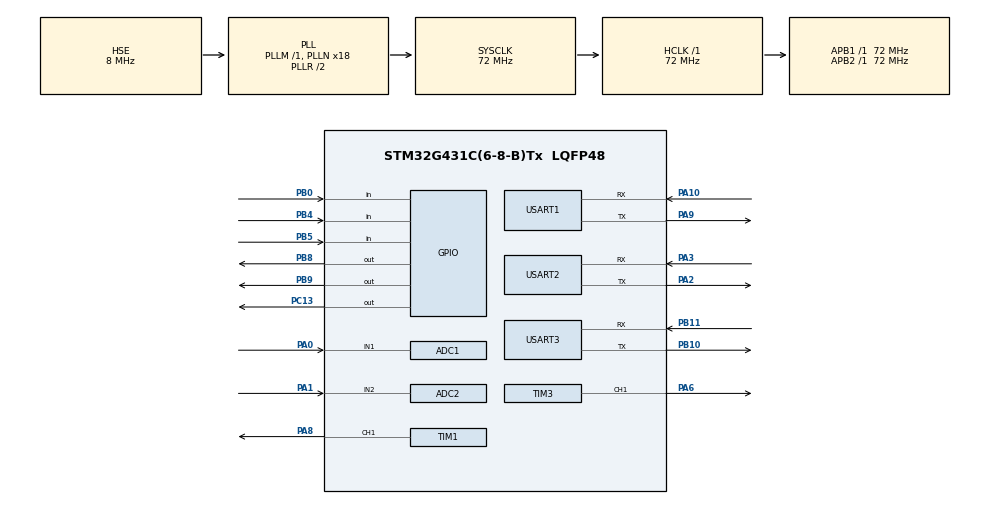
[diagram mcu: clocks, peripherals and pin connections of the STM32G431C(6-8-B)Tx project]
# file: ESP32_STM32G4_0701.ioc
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ADC1.Channel-0\#ChannelRegularConversion=ADC_CHANNEL_1
ADC1.NbrOfConversionFlag=1
ADC1.OffsetNumber-0\#ChannelRegularConversion=ADC_OFFSET_NONE
ADC1.Rank-0\#ChannelRegularConversion=1
ADC1.SamplingTime-0\#ChannelRegularConversion=ADC_SAMPLETIME_2CYCLES_5
ADC1.master=1
ADC2.Channel-0\#ChannelRegularConversion=ADC_CHANNEL_2
ADC2.NbrOfConversionFlag=1
ADC2.OffsetNumber-0\#ChannelRegularConversion=ADC_OFFSET_NONE
ADC2.Rank-0\#ChannelRegularConversion=1
ADC2.SamplingTime-0\#ChannelRegularConversion=ADC_SAMPLETIME_2CYCLES_5
FREERTOS.Queues01=myQueue01,16,uint16_t,0,Dynamic,NULL,NULL
FREERTOS.Tasks01=defaultTask,24,128,StartDefaultTask,Default,NULL,Dynamic,NULL,NULL;myTask02,8,128,StartTask02,Default,NULL,Dynamic,NULL,NULL;myTask03,8,128,StartTask03,Default,NULL,Dynamic,NULL,NULL;myTask04,8,128,StartTask04,Default,NULL,Dynamic,NULL,NULL;myTask05,8,128,StartTask05,Default,NULL,Dynamic,NULL,NULL;myTask06,8,128,StartTask06,Default,NULL,Dynamic,NULL,NULL;myTask07,8,128,StartTask07,Default,NULL,Dynamic,NULL,NULL
FREERTOS.configTOTAL_HEAP_SIZE=10000
Mcu.Family=STM32G4
Mcu.Name=STM32G431C(6-8-B)Tx
Mcu.Package=LQFP48
NVIC.PriorityGroup=NVIC_PRIORITYGROUP_4
NVIC.TIM2_IRQn=true\:15\:0\:false\:false\:true\:false\:false\:true\:true
NVIC.TimeBase=TIM2_IRQn
NVIC.TimeBaseIP=TIM2
NVIC.USART2_IRQn=true\:5\:0\:false\:false\:true\:true\:true\:true\:true
NVIC.USART3_IRQn=true\:5\:0\:false\:false\:true\:true\:true\:true\:true
PA0.Mode=IN1-Single-Ended
PA0.Signal=ADC1_IN1
PA1.Mode=IN2-Single-Ended
PA1.Signal=ADC2_IN2
PA10.Mode=Asynchronous
PA10.Signal=USART1_RX
PA13.Mode=Serial_Wire
PA13.Signal=SYS_JTMS-SWDIO
PA14.Mode=Serial_Wire
PA14.Signal=SYS_JTCK-SWCLK
PA2.Mode=Asynchronous
PA2.Signal=USART2_TX
PA3.Mode=Asynchronous
PA3.Signal=USART2_RX
PA6.Signal=S_TIM3_CH1
PA8.Signal=S_TIM1_CH1
PA9.Mode=Asynchronous
PA9.Signal=USART1_TX
PB0.GPIO_PuPd=GPIO_PULLUP
PB0.Signal=GPIO_Input
PB10.Mode=Asynchronous
PB10.Signal=USART3_TX
PB11.Mode=Asynchronous
PB11.Signal=USART3_RX
PB4.GPIO_PuPd=GPIO_PULLUP
PB4.Signal=GPIO_Input
PB5.GPIO_PuPd=GPIO_PULLUP
PB5.Signal=GPIO_Input
PB8-BOOT0.GPIO_ModeDefaultOutputPP=GPIO_MODE_OUTPUT_OD
PB8-BOOT0.GPIO_PuPd=GPIO_NOPULL
PB8-BOOT0.Signal=GPIO_Output
PB9.GPIO_ModeDefaultOutputPP=GPIO_MODE_OUTPUT_OD
PB9.GPIO_PuPd=GPIO_NOPULL
PB9.Signal=GPIO_Output
PC13.Signal=GPIO_Output
PF0-OSC_IN.Mode=HSE-External-Oscillator
PF0-OSC_IN.Signal=RCC_OSC_IN
PF1-OSC_OUT.Mode=HSE-External-Oscillator
PF1-OSC_OUT.Signal=RCC_OSC_OUT
ProjectManager.HeapSize=0x200
ProjectManager.StackSize=0x400
ProjectManager.TargetToolchain=MDK-ARM V5.32
RCC.ADC12Freq_Value=72000000
RCC.AHBFreq_Value=72000000
RCC.APB1Freq_Value=72000000
RCC.APB1TimFreq_Value=72000000
RCC.APB2Freq_Value=72000000
RCC.APB2TimFreq_Value=72000000
RCC.CortexFreq_Value=72000000
RCC.EXTERNAL_CLOCK_VALUE=12288000
RCC.HCLKFreq_Value=72000000
RCC.HSE_VALUE=8000000
RCC.HSI48_VALUE=48000000
RCC.HSI_VALUE=16000000
RCC.LSE_VALUE=32768
RCC.PLLN=18
RCC.PLLSourceVirtual=RCC_PLLSOURCE_HSE
RCC.SYSCLKFreq_VALUE=72000000
RCC.SYSCLKSource=RCC_SYSCLKSOURCE_PLLCLK
RCC.USBFreq_Value=72000000
RCC.VCOOutputFreq_Value=144000000
SH.S_TIM1_CH1.0=TIM1_CH1,PWM Generation1 CH1
SH.S_TIM3_CH1.0=TIM3_CH1,PWM Generation1 CH1
TIM1.Channel-PWM\ Generation1\ CH1=TIM_CHANNEL_1
TIM1.PeriodNoDither=10000-1
TIM1.Prescaler=72-1
TIM3.Channel-PWM\ Generation1\ CH1=TIM_CHANNEL_1
TIM3.Prescaler=72-1
USART1.VirtualMode-Asynchronous=VM_ASYNC
USART2.VirtualMode-Asynchronous=VM_ASYNC
USART3.VirtualMode-Asynchronous=VM_ASYNC
VP_FREERTOS_VS_CMSIS_V2.Mode=CMSIS_V2
VP_SYS_VS_DBSignals.Mode=DisableDeadBatterySignals
VP_SYS_VS_tim2.Mode=TIM2
VP_TIM1_VS_ClockSourceINT.Mode=Internal
VP_TIM3_VS_ClockSourceINT.Mode=Internal
board=custom

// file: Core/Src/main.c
/* USER CODE BEGIN Header */
/**
  ******************************************************************************
  * @file           : main.c
  * @brief          : Main program body
  ******************************************************************************
  * @attention
  *
  * Copyright (c) 2024 STMicroelectronics.
  * All rights reserved.
  *
  * This software is licensed under terms that can be found in the LICENSE file
  * in the root directory of this software component.
  * If no LICENSE file comes with this software, it is provided AS-IS.
  *
  ******************************************************************************
  */
/* USER CODE END Header */
#include "main.h"
#include "cmsis_os.h"
#include "adc.h"
#include "tim.h"
#include "usart.h"
#include "gpio.h"

void SystemClock_Config(void);
void MX_FREERTOS_Init(void);

int main(void)
{

  /* MCU Configuration--------------------------------------------------------*/

  /* Reset of all peripherals, Initializes the Flash interface and the Systick. */
  HAL_Init();

  /* Configure the system clock */
  SystemClock_Config();

  /* Initialize all configured peripherals */
  MX_GPIO_Init();
  MX_ADC1_Init();
  MX_TIM1_Init();
  MX_TIM3_Init();
  MX_USART1_UART_Init();
  MX_USART2_UART_Init();
  MX_USART3_UART_Init();
  MX_ADC2_Init();

  /* Init scheduler */
  osKernelInitialize();

  /* Call init function for freertos objects (in freertos.c) */
  MX_FREERTOS_Init();

  /* Start scheduler */
  osKernelStart();

  /* We should never get here as control is now taken by the scheduler */
  /* Infinite loop */
  while (1)
  {

  }
}

void SystemClock_Config(void)
{
  RCC_OscInitTypeDef RCC_OscInitStruct = {0};
  RCC_ClkInitTypeDef RCC_ClkInitStruct = {0};

  /** Configure the main internal regulator output voltage
  */
  HAL_PWREx_ControlVoltageScaling(PWR_REGULATOR_VOLTAGE_SCALE1);

  /** Initializes the RCC Oscillators according to the specified parameters
  * in the RCC_OscInitTypeDef structure.
  */
  RCC_OscInitStruct.OscillatorType = RCC_OSCILLATORTYPE_HSE;
  RCC_OscInitStruct.HSEState = RCC_HSE_ON;
  RCC_OscInitStruct.PLL.PLLState = RCC_PLL_ON;
  RCC_OscInitStruct.PLL.PLLSource = RCC_PLLSOURCE_HSE;
  RCC_OscInitStruct.PLL.PLLM = RCC_PLLM_DIV1;
  RCC_OscInitStruct.PLL.PLLN = 18;
  RCC_OscInitStruct.PLL.PLLP = RCC_PLLP_DIV2;
  RCC_OscInitStruct.PLL.PLLQ = RCC_PLLQ_DIV2;
  RCC_OscInitStruct.PLL.PLLR = RCC_PLLR_DIV2;
  if (HAL_RCC_OscConfig(&RCC_OscInitStruct) != HAL_OK)
  {
    Error_Handler();
  }

  /** Initializes the CPU, AHB and APB buses clocks
  */
  RCC_ClkInitStruct.ClockType = RCC_CLOCKTYPE_HCLK|RCC_CLOCKTYPE_SYSCLK
                              |RCC_CLOCKTYPE_PCLK1|RCC_CLOCKTYPE_PCLK2;
  RCC_ClkInitStruct.SYSCLKSource = RCC_SYSCLKSOURCE_PLLCLK;
  RCC_ClkInitStruct.AHBCLKDivider = RCC_SYSCLK_DIV1;
  RCC_ClkInitStruct.APB1CLKDivider = RCC_HCLK_DIV1;
  RCC_ClkInitStruct.APB2CLKDivider = RCC_HCLK_DIV1;

  if (HAL_RCC_ClockConfig(&RCC_ClkInitStruct, FLASH_LATENCY_2) != HAL_OK)
  {
    Error_Handler();
  }
}

void HAL_TIM_PeriodElapsedCallback(TIM_HandleTypeDef *htim)
{
  if (htim->Instance == TIM2) {
    HAL_IncTick();
  }
}

void Error_Handler(void)
{
  __disable_irq();
  while (1)
  {
  }
}

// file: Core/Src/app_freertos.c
/* USER CODE BEGIN Header */
/**
  ******************************************************************************
  * File Name          : app_freertos.c
  * Description        : Code for freertos applications
  ******************************************************************************
  * @attention
  *
  * Copyright (c) 2024 STMicroelectronics.
  * All rights reserved.
  *
  * This software is licensed under terms that can be found in the LICENSE file
  * in the root directory of this software component.
  * If no LICENSE file comes with this software, it is provided AS-IS.
  *
  ******************************************************************************
  */
/* USER CODE END Header */

#include "FreeRTOS.h"
#include "task.h"
#include "main.h"
#include "cmsis_os.h"

/* USER CODE BEGIN Includes */
#include "string.h"
#include "stdio.h"
#include "adc.h"
#include "usart.h"
#include "tim.h"
#include "oled.h"
uint16_t duty = 0;
uint8_t x=0;
uint8_t  data_rx[20]={0};
uint32_t leftLight = 0;  // 左光传感器数值
uint32_t rightLight = 0; // 右光传感器数值
char leftLightStr[20];   // 用于存储左光传感器数值的字符串
char rightLightStr[20];  // 用于存储右光传感器数值的字符串
int fputc(int ch, FILE *f)
{
// 等待发送完成
while((USART1->ISR & USART_ISR_TXE) == 0);

// 发送字符
USART1->TDR = (char) ch;
return ch;
}
/* USER CODE END Includes */

/* USER CODE BEGIN PM */
#define ARR 20000
/* USER CODE END PM */

/* Definitions for defaultTask */
osThreadId_t defaultTaskHandle;
const osThreadAttr_t defaultTask_attributes = {
  .name = "defaultTask",
  .priority = (osPriority_t) osPriorityNormal,
  .stack_size = 128 * 4
};
/* Definitions for myTask02 */
osThreadId_t myTask02Handle;
const osThreadAttr_t myTask02_attributes = {
  .name = "myTask02",
  .priority = (osPriority_t) osPriorityLow,
  .stack_size = 128 * 4
};
/* Definitions for myTask03 */
osThreadId_t myTask03Handle;
const osThreadAttr_t myTask03_attributes = {
  .name = "myTask03",
  .priority = (osPriority_t) osPriorityLow,
  .stack_size = 128 * 4
};
/* Definitions for myTask04 */
osThreadId_t myTask04Handle;
const osThreadAttr_t myTask04_attributes = {
  .name = "myTask04",
  .priority = (osPriority_t) osPriorityLow,
  .stack_size = 128 * 4
};
/* Definitions for myTask05 */
osThreadId_t myTask05Handle;
const osThreadAttr_t myTask05_attributes = {
  .name = "myTask05",
  .priority = (osPriority_t) osPriorityLow,
  .stack_size = 128 * 4
};
/* Definitions for myTask06 */
osThreadId_t myTask06Handle;
const osThreadAttr_t myTask06_attributes = {
  .name = "myTask06",
  .priority = (osPriority_t) osPriorityLow,
  .stack_size = 128 * 4
};
/* Definitions for myTask07 */
osThreadId_t myTask07Handle;
const osThreadAttr_t myTask07_attributes = {
  .name = "myTask07",
  .priority = (osPriority_t) osPriorityLow,
  .stack_size = 128 * 4
};
/* Definitions for myQueue01 */
osMessageQueueId_t myQueue01Handle;
const osMessageQueueAttr_t myQueue01_attributes = {
  .name = "myQueue01"
};

/* USER CODE BEGIN FunctionPrototypes */
void HAL_UART_RxCpltCallback(UART_HandleTypeDef *huart)
{
	 vTaskNotifyGiveFromISR(myTask03Handle ,0);
	HAL_UART_Receive_IT(&huart2, data_rx, 4);
}
/* USER CODE END FunctionPrototypes */

void StartDefaultTask(void *argument);
void StartTask02(void *argument);
void StartTask03(void *argument);
void StartTask04(void *argument);
void StartTask05(void *argument);
void StartTask06(void *argument);
void StartTask07(void *argument);

void MX_FREERTOS_Init(void); /* (MISRA C 2004 rule 8.1) */

void MX_FREERTOS_Init(void) {

  /* Create the queue(s) */
  /* creation of myQueue01 */
  myQueue01Handle = osMessageQueueNew (16, sizeof(uint16_t), &myQueue01_attributes);

  /* Create the thread(s) */
  /* creation of defaultTask */
  defaultTaskHandle = osThreadNew(StartDefaultTask, NULL, &defaultTask_attributes);

  /* creation of myTask02 */
  myTask02Handle = osThreadNew(StartTask02, NULL, &myTask02_attributes);

  /* creation of myTask03 */
  myTask03Handle = osThreadNew(StartTask03, NULL, &myTask03_attributes);

  /* creation of myTask04 */
  myTask04Handle = osThreadNew(StartTask04, NULL, &myTask04_attributes);

  /* creation of myTask05 */
  myTask05Handle = osThreadNew(StartTask05, NULL, &myTask05_attributes);

  /* creation of myTask06 */
  myTask06Handle = osThreadNew(StartTask06, NULL, &myTask06_attributes);

  /* creation of myTask07 */
  myTask07Handle = osThreadNew(StartTask07, NULL, &myTask07_attributes);

}

void StartDefaultTask(void *argument)
{
  /* USER CODE BEGIN StartDefaultTask */
  /* Infinite loop */
	printf("start\r\n");// 打印任务开始信息到串口
	memset(data_rx,0,20);// 初始化接收数据缓冲区为0
	HAL_UART_Receive_IT(&huart2, data_rx, 4);// 启动UART接收中断，接收4个字节的数据到data_rx缓冲区
  for(;;)
  {
    osDelay(1000);
  }
  /* USER CODE END StartDefaultTask */
}

void StartTask02(void *argument)
{
  /* USER CODE BEGIN StartTask02 */
  /* Infinite loop */
uint16_t r_queue = 0; // 定义一个用于接收消息队列数据的变量，初始值为0
uint16_t len = 0; // 定义长度变量，用于记录待发送数据的长度，初始值为0
char data_send[20] = {0}; // 定义一个长度为20的待发送数据缓冲区，初始所有元素为0
for (;;)
{
    osMessageQueueGet(myQueue01Handle, &r_queue, 0, osWaitForever);
    // 从消息队列（myQueue01Handle）中获取消息，等待时间设为永久(osWaitForever)，获取的消息存储在r_queue变量中
    HAL_UART_Transmit(&huart2, data_send, len, 1000);
    // 通过UART2发送数据，发送data_send缓冲区中的数据，发送长度为len个字节，超时时间为1000毫秒
    osDelay(1); // 延时1毫秒，控制任务执行频率
}

  /* USER CODE END StartTask02 */
}

void StartTask03(void *argument)
{
  /* USER CODE BEGIN StartTask03 */
  /* Infinite loop */
    for(;;)
    {
        ulTaskNotifyTake(1, osWaitForever); // 等待接收任务通知
        printf("datarx=%s\r\n", data_rx); // 打印接收到的数据
		    // 比较接收到的数据并执行相应操作
        if(strcmp(data_rx, "OPEN") == 0)
        {
            x = 1;
            HAL_TIM_PWM_Start(&htim1, TIM_CHANNEL_1); // 启动PWM输出
            duty = 255;
            printf("当前档位为：%d档\r\n", x); // 打印当前档位
        }
        else if(strcmp(data_rx, "CLOS") == 0)
        {
            HAL_TIM_PWM_Stop(&htim1, TIM_CHANNEL_1); // 停止PWM输出
            duty = 0;
            x = 0;
            printf("当前档位为：%d档\r\n", x); // 打印当前档位
        }
        else if(strcmp(data_rx, "high") == 0)
        {
            if(x < 5)
            {
                x++;
                printf("当前档位为：%d档\r\n", x); // 打印当前档位
            }
        }
        else if(strcmp(data_rx, "down") == 0)
        {
            if(x > 0)
            {
                x--;
                printf("当前档位为：%d档\r\n", x); // 打印当前档位
            }
        }

        // 根据档位设置PWM占空比
        switch(x)
        {
            case 0:
                HAL_TIM_PWM_Stop(&htim1, TIM_CHANNEL_1); // 停止PWM输出
                duty = 0;
                break;
            case 1:
                HAL_TIM_PWM_Start(&htim1, TIM_CHANNEL_1); // 启动PWM输出
                duty = 199;
                break;
            case 2:
                duty = 399;
                break;
            case 3:
                duty = 599;
                break;
            case 4:
                duty = 799;
                break;
            case 5:
                duty = 999;
                break;
            default:
                x = 0;
                duty = 0;
                break;
        }

        TIM1->CCR1 = duty; // 设置TIM1通道1的占空比

if (strcmp(data_rx, "left") == 0)
{
    __HAL_TIM_SET_COMPARE(&htim3, TIM_CHANNEL_1, 1200); // 设置TIM3通道1的比较值为1400
    osDelay(500); // 延时500毫秒
    __HAL_TIM_SET_COMPARE(&htim3, TIM_CHANNEL_1, 1500); // 设置TIM3通道1的比较值为1500
		printf("1");
}

if (strcmp(data_rx, "righ") == 0)
{
	printf("2");
    __HAL_TIM_SET_COMPARE(&htim3, TIM_CHANNEL_1, 1800); // 设置TIM3通道1的比较值为1600
    osDelay(500); // 延时500毫秒
    __HAL_TIM_SET_COMPARE(&htim3, TIM_CHANNEL_1, 1500); // 设置TIM3通道1的比较值为1500
}
        memset(data_rx, 0, 20); // 清空接收数据数组
			osDelay(1); // 延时1ms，释放处理器时间片
    }
  /* USER CODE END StartTask03 */
}

void StartTask04(void *argument)
{
  /* USER CODE BEGIN StartTask04 */
  /* Infinite loop */
    uint8_t y = 0; // 按钮按下标志
    uint8_t button_pressed = 0; // 按钮按下标志
    for(;;)
    {
        // 检测按钮是否被按下
        if(HAL_GPIO_ReadPin(GPIOB, GPIO_PIN_0) == GPIO_PIN_RESET) // 如果按键被按下
        {
            HAL_Delay(50); // 延时一段时间避免按键抖动影响
            if(HAL_GPIO_ReadPin(GPIOB, GPIO_PIN_0) == GPIO_PIN_RESET) // 如果按键仍然被按下
            {
                x++; // 切换到下一个档位
                button_pressed = 1; // 设置按钮按下标志
							if(x>5){
								x=0;
							}
                HAL_Delay(10); // 延时一段时间以防止连续按下
            }
            while(HAL_GPIO_ReadPin(GPIOB, GPIO_PIN_0) == GPIO_PIN_RESET); // 等待按钮释放
        }

        // 根据档位设置PWM占空比
        if(button_pressed == 1) // 如果按钮被按下
        {
            switch(x)
            {
                case 0:
                    HAL_TIM_PWM_Stop(&htim1, TIM_CHANNEL_1); // 停止PWM输出
                    duty = 0;
                    printf("\r\n当前档位为：%d档\r\n", x);
                    break;
                case 1:
                    HAL_TIM_PWM_Start(&htim1, TIM_CHANNEL_1); // 启动PWM输出
                    duty = 199;
                    printf("\r\n当前档位为：%d档\r\n", x);
                    break;
                case 2:
                    duty = 399;
                    printf("\r\n当前档位为：%d档\r\n", x);
                    break;
                case 3:
                    duty = 599;
                    printf("\r\n当前档位为：%d档\r\n", x);
                    break;
                case 4:
                    duty = 799;
                    printf("\r\n当前档位为：%d档\r\n", x);
                    break;
                case 5:
                    duty = 999;
                    printf("\r\n当前档位为：%d档\r\n", x);
                    break;
                default:

                    break;
            }
            button_pressed = 0; // 清除按钮按下标志
            TIM1->CCR1 = duty; // 设置PWM占空比
        }
    }
		osDelay(1);
  /* USER CODE END StartTask04 */
}

void StartTask05(void *argument)
{
  /* USER CODE BEGIN StartTask05 */
  /* Infinite loop */
	uint8_t data_tx; // 用于接收数据的变量
  for(;;)
  {
    if (HAL_UART_Receive(&huart3, &data_tx, 1, HAL_MAX_DELAY) == HAL_OK)
    {
        printf("接收到的数据：0x%02X\r\n", data_tx);

        if (data_tx == 0x01) // 如果接收到的数据是0x01
        {
					  x = 1; // 设置档位为1
					  HAL_TIM_PWM_Start(&htim1, TIM_CHANNEL_1); // 启动PWM输出
            duty = 255; // 将灯的占空比设为255，即灯全亮
            printf("当前档位为：%d档\r\n", x); // 打印当前档位
        }
        if (data_tx == 0x00) // 如果接收到的数据是0x00
        {
					  x = 0; // 设置档位为0
					  HAL_TIM_PWM_Stop(&htim1, TIM_CHANNEL_1); // 停止PWM输出
            duty = 0; // 将灯的占空比设为0，即灯灭
            printf("当前档位为：%d档\r\n", x); // 打印当前档位
        }
				else if(data_tx == 0x02) // 如果接收到的数据是0x02
    {
        if(x < 5)
        {
            x++; // 档位加一
            printf("当前档位为：%d档\r\n", x); // 打印当前档位
        }
    }
    else if(data_tx == 0x03) // 如果接收到的数据是0x03
    {
        if(x > 0)
        {
            x--; // 档位减一
            printf("当前档位为：%d档\r\n", x); // 打印当前档位
        }
    }

    // 根据档位设置PWM占空比
    switch(x)
    {
        case 0:
            HAL_TIM_PWM_Stop(&htim1, TIM_CHANNEL_1); // 停止PWM输出
            duty = 0;
            break;
        case 1:
            HAL_TIM_PWM_Start(&htim1, TIM_CHANNEL_1); // 启动PWM输出
            duty = 199;
            break;
        case 2:
            duty = 399;
            break;
        case 3:
            duty = 599;
            break;
        case 4:
            duty = 799;
            break;
        case 5:
            duty = 999;
            break;
        default:
            x = 0;
            duty = 0;
            break;
    }

    TIM1->CCR1 = duty; // 设置TIM1通道1的占空比

    memset(data_rx, 0, 20); // 清空接收数据数组

    osDelay(1); // 延时1ms，释放处理器时间片
	}
	}
  /* USER CODE END StartTask05 */
}

void StartTask06(void *argument)
{
    OLED_Init();  // OLED初始化
    char buffer[20];
    for (;;)
    {
        HAL_Delay(100);  // 延时，调整为适当的值
        // 模拟更新 leftLight 和 rightLight 的值
        // 这部分需要根据实际的传感器数据更新逻辑来实现
        // 这里使用 sprintf 模拟更新 leftLightStr 和 rightLightStr
				OLED_ShowChinese(0*16, 0, 4, 16, 1);  // 太
        OLED_ShowChinese(1*16, 0, 5, 16, 1);  // 阳
        OLED_ShowChinese(2*16, 0, 6, 16, 1);  // 能
        OLED_ShowChinese(3*16, 0, 7, 16, 1);  // 路
        OLED_ShowChinese(4*16, 0, 8, 16, 1);  // 灯
        OLED_ShowChinese(5*16, 0, 9, 16, 1);  // 系
        OLED_ShowChinese(6*16, 0, 10, 16, 1); // 统
        OLED_ShowChinese(0*16, 16*1, 11, 16, 1); // 当
        OLED_ShowChinese(1*16, 16*1, 12, 16, 1); // 前
        OLED_ShowChinese(2*16, 16*1, 13, 16, 1); // 挡
        OLED_ShowChinese(3*16, 16*1, 14, 16, 1); // 位
        OLED_ShowChinese(4*16, 16*1, 15, 16, 1); // 为
        OLED_ShowChinese(5*16, 16*1, 16, 16, 1); // ：
        OLED_ShowChinese(7*16, 16*1, 13, 16, 1); // 挡
        // 显示动态数据
			  sprintf(buffer, "%d", x);
        OLED_ShowString(6*16, 16*1, buffer, 16, 1); // 档位值
        OLED_ShowString(0*16, 16*2, "left", 16, 1);
        OLED_ShowChinese(3*16, 16*2, 16, 16, 1);  // ：
        OLED_ShowString(4*16, 16*2, (uint8_t *)leftLightStr, 16, 1); // 档位值
        OLED_ShowString(0*16, 16*3, "right", 16, 1);
        OLED_ShowChinese(3*16, 16*3, 16, 16, 1);  // ：
        OLED_ShowString(4*16, 16*3, (uint8_t *)rightLightStr, 16, 1); // 档位值
        // 更新显示
        OLED_Refresh();
    }
}
void StartTask07(void *argument)
{
  /* USER CODE BEGIN StartTask07 */
  /* Infinite loop */
	HAL_TIM_PWM_Start(&htim3,TIM_CHANNEL_1);
  for (;;)
  {
    HAL_ADC_Start(&hadc2); // 启动ADC1转换
    HAL_ADC_PollForConversion(&hadc2, HAL_MAX_DELAY); // 等待ADC1转换完成
    rightLight = HAL_ADC_GetValue(&hadc2); // 获取右光传感器的数值
//    printf("Right Light Sensor Value: %lu\n", rightLight); // 打印右光传感器的数值
    HAL_Delay(50); // 延时50毫秒

    HAL_ADC_Start(&hadc1); // 启动ADC2转换
    HAL_ADC_PollForConversion(&hadc1, HAL_MAX_DELAY); // 等待ADC2转换完成
    leftLight = HAL_ADC_GetValue(&hadc1); // 获取左光传感器的数值
//    printf("Left Light Sensor Value: %lu\n", leftLight); // 打印左光传感器的数值
    HAL_Delay(50); // 延时50毫秒
		leftLight=leftLight+1000;
    rightLight=rightLight+1000;

		sprintf(leftLightStr, "%lu", leftLight);   // %lu 用于打印 unsigned long 整数值
    sprintf(rightLightStr, "%lu", rightLight); // %lu 用于打印 unsigned long 整数值

		    // 将左光传感器数值和右光传感器数值转换为字符串

				if (rightLight > (leftLight + 300)) {
			__HAL_TIM_SET_COMPARE(&htim3,TIM_CHANNEL_1,1400);
     } else if (leftLight > (rightLight + 300)) {
			__HAL_TIM_SET_COMPARE(&htim3,TIM_CHANNEL_1,1600);
     } else {
      __HAL_TIM_SET_COMPARE(&htim3,TIM_CHANNEL_1,1500);
     }

if (HAL_GPIO_ReadPin(GPIOB, GPIO_PIN_4) == GPIO_PIN_RESET)
{
//	printf("1");
    __HAL_TIM_SET_COMPARE(&htim3, TIM_CHANNEL_1, 1200); // 设置TIM3通道1的比较值为1400
    osDelay(100); // 延时10毫秒
    __HAL_TIM_SET_COMPARE(&htim3, TIM_CHANNEL_1, 1500); // 设置TIM3通道1的比较值为1500
}

if (HAL_GPIO_ReadPin(GPIOB, GPIO_PIN_5) == GPIO_PIN_RESET)
{
//	printf("2");
    __HAL_TIM_SET_COMPARE(&htim3, TIM_CHANNEL_1, 1800); // 设置TIM3通道1的比较值为1600
    osDelay(100); // 延时10毫秒
    __HAL_TIM_SET_COMPARE(&htim3, TIM_CHANNEL_1, 1500); // 设置TIM3通道1的比较值为1500
}

    osDelay(1); // 操作系统延时1000毫秒
  }
  /* USER CODE END StartTask07 */
}
